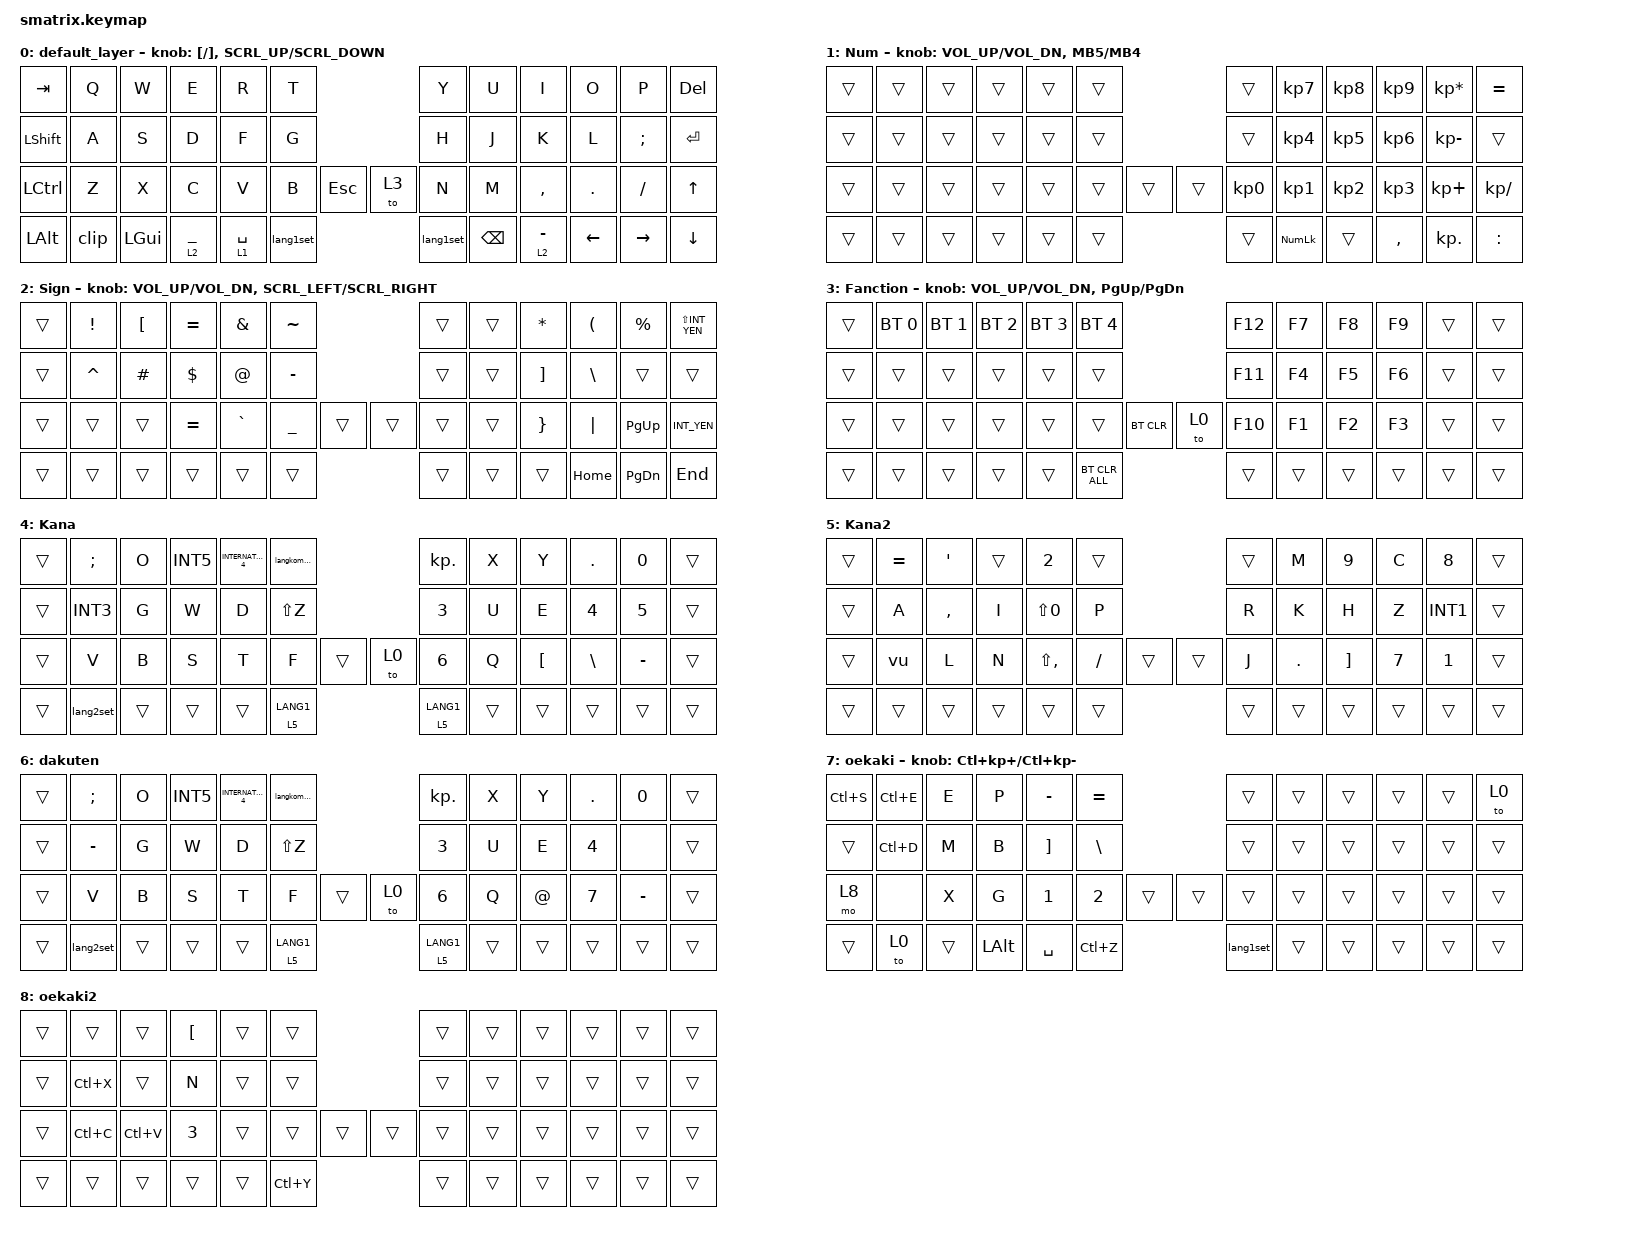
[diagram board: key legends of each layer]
#define ZMK_POINTING_DEFAULT_MOVE_VAL 800
#define ZMK_POINTING_DEFAULT_SCRL_VAL 120

#include <input/processors.dtsi>
#include <zephyr/dt-bindings/input/input-event-codes.h>
#include <behaviors.dtsi>
#include <dt-bindings/zmk/bt.h>
#include <dt-bindings/zmk/keys.h>
#include <dt-bindings/zmk/pointing.h>

&mt {
    flavor = "balanced";
    quick-tap-ms = <0>;
};

&msc {
    delay-ms = <0>;
    trigger-period-ms = <10>;
    time-to-max-speed-ms = <0>;
    acceleration-exponent = <0>;
};

/ {
    input_processors {
        zip_wheel_scaler: zip_wheel_scaler {
            compatible = "zmk,input-processor-scaler";
            #input-processor-cells = <2>;
            type = <INPUT_EV_REL>;
            codes = <INPUT_REL_WHEEL>;
            track-remainders;
        };
    };
};

&msc_input_listener {
    warp {
        layers = <0>;
        input-processors = <&zip_wheel_scaler 4 1>;
    };

    precision {
        layers = <1>;
        input-processors = <&zip_wheel_scaler 1 2>;
    };
};

/ {
    behaviors {
        rot_kp: sensor_rotate_kp {
            compatible = "zmk,behavior-sensor-rotate-var";
            #sensor-binding-cells = <2>;
            bindings = <&kp>, <&kp>;
        };

        mouse_click: mouse_button_kp {
            compatible = "zmk,behavior-sensor-rotate-var";
            #sensor-binding-cells = <2>;
            bindings = <&mkp>, <&mkp>;
        };

        mouse_scrl: mouse_wheel_scrl {
            compatible = "zmk,behavior-sensor-rotate-var";
            #sensor-binding-cells = <2>;
            bindings = <&msc>, <&msc>;

            tap-ms = <10>;
        };

        macro_w_sshot: macro_w_sshot {
            compatible = "zmk,behavior-macro";
            label = "Win Screenshot Macro";
            #binding-cells = <0>;
            bindings =
                <&macro_press>,
                <&kp LGUI &kp LSHFT>,
                <&macro_tap>,
                <&kp S>,
                <&macro_release>,
                <&kp LGUI &kp LSHFT>;
        };

        macro_m_sshot: macro_m_sshot {
            compatible = "zmk,behavior-macro";
            label = "Mac Screenshot Macro";
            #binding-cells = <0>;
            bindings =
                <&macro_press>,
                <&kp LGUI &kp LSHFT>,
                <&macro_tap>,
                <&kp N4>,
                <&macro_release>,
                <&kp LGUI &kp LSHFT>;
        };

        macro_w_TMute: macro_w_TMute {
            compatible = "zmk,behavior-macro";
            label = "Win Teams Mic Mute";
            #binding-cells = <0>;
            bindings =
                <&macro_press>,
                <&kp LGUI &kp LALT>,
                <&macro_tap>,
                <&kp K>,
                <&macro_release>,
                <&kp LGUI &kp LALT>;
        };

        lang1set: lang1set {
            compatible = "zmk,behavior-macro";
            #binding-cells = <0>;
            bindings = <&to 4 &lt 5 LANG1>;
            label = "LANG1SET";
        };

        lang2set: lang2set {
            compatible = "zmk,behavior-macro";
            #binding-cells = <0>;
            bindings = <&to 0 &lt 1 LANG2>;
            label = "LANG2SET";
        };

        pe: pe {
            compatible = "zmk,behavior-macro";
            #binding-cells = <0>;
            bindings = <&kp CARET>;
            label = "PE";
        };

        pi: pi {
            compatible = "zmk,behavior-macro";
            #binding-cells = <0>;
            bindings = <&kp V>;
            label = "PI";
        };

        pa: pa {
            compatible = "zmk,behavior-macro";
            #binding-cells = <0>;
            bindings = <&kp F>;
            label = "PA";
        };

        po: po {
            compatible = "zmk,behavior-macro";
            #binding-cells = <0>;
            bindings = <&kp MINUS>;
            label = "PO";
        };

        ba: ba {
            compatible = "zmk,behavior-macro";
            #binding-cells = <0>;
            bindings = <&kp F>;
            label = "BA";
        };

        Syo: Syo {
            compatible = "zmk,behavior-macro";
            #binding-cells = <0>;
            bindings = <&kp D &kp LS(N9)>;
            label = "SYO";
        };

        vu: vu {
            compatible = "zmk,behavior-macro";
            #binding-cells = <0>;
            bindings = <&kp NUMBER_4 &kp LEFT_BRACKET>;
            label = "VU";
        };

        langkommma: langkommma {
            compatible = "zmk,behavior-macro";
            #binding-cells = <0>;
            bindings = <&kp LANGUAGE_2 &kp COMMA &kp LANG1>;
            label = "LANGKOMMMA";
        };

        clip: clip {
            compatible = "zmk,behavior-macro";
            #binding-cells = <0>;
            bindings = <&to 7 &lt 1 LANG2>;
            label = "CLIP";
        };
    };

    macros {
    };

    combos {
        compatible = "zmk,combos";

        lang2 {
            bindings = <&lang2set>;
            key-positions = <43 42>;
        };

        lang2r {
            bindings = <&lang2set>;
            key-positions = <44 42>;
        };
    };

    keymap {
        compatible = "zmk,keymap";

        default_layer {
            bindings = <
&kp TAB         &kp Q  &kp W     &kp E             &kp R        &kp T                           &kp Y      &kp U          &kp I        &kp O       &kp P            &kp DEL
&kp LEFT_SHIFT  &kp A  &kp S     &kp D             &kp F        &kp G                           &kp H      &kp J          &kp K        &kp L       &kp SEMI         &kp ENTER
&kp LCTRL       &kp Z  &kp X     &kp C             &kp V        &kp B      &kp ESCAPE    &to 3  &kp N      &kp M          &kp COMMA    &kp PERIOD  &kp SLASH        &kp UP_ARROW
&kp LEFT_ALT    &clip  &kp LGUI  &lt 2 UNDERSCORE  &lt 1 SPACE  &lang1set                       &lang1set  &kp BACKSPACE  &lt 2 MINUS  &kp LEFT    &kp RIGHT_ARROW  &kp DOWN_ARROW
            >;

            sensor-bindings =
                <&rot_kp LEFT_BRACKET RIGHT_BRACKET>,
                <&mouse_scrl SCRL_UP SCRL_DOWN>;
        };

        Num {
            bindings = <
&trans  &trans  &trans  &trans  &trans  &trans                    &trans     &kp KP_N7   &kp KP_N8  &kp KP_N9  &kp KP_ASTERISK  &kp EQUAL
&trans  &trans  &trans  &trans  &trans  &trans                    &trans     &kp KP_N4   &kp KP_N5  &kp KP_N6  &kp KP_MINUS     &trans
&trans  &trans  &trans  &trans  &trans  &trans  &trans    &trans  &kp KP_N0  &kp KP_N1   &kp KP_N2  &kp KP_N3  &kp KP_PLUS      &kp KP_SLASH
&trans  &trans  &trans  &trans  &trans  &trans                    &trans     &kp KP_NUM  &trans     &kp COMMA  &kp KP_DOT       &kp COLON
            >;

            sensor-bindings = <&rot_kp C_VOL_UP C_VOL_DN    &mouse_click MB5 MB4>;
        };

        Sign {
            bindings = <
&trans  &kp EXCL   &kp LEFT_BRACKET  &kp EQUAL   &kp AMPERSAND  &kp TILDE                         &trans  &trans  &kp ASTRK          &kp LEFT_PARENTHESIS  &kp PERCENT  &kp LS(INT_YEN)
&trans  &kp CARET  &kp HASH          &kp DOLLAR  &kp AT         &kp MINUS                         &trans  &trans  &kp RIGHT_BRACKET  &kp BACKSLASH         &trans       &trans
&trans  &trans     &trans            &kp EQUAL   &kp GRAVE      &kp UNDERSCORE  &trans    &trans  &trans  &trans  &kp RIGHT_BRACE    &kp PIPE              &kp PG_UP    &kp INT_YEN
&trans  &trans     &trans            &trans      &trans         &trans                            &trans  &trans  &trans             &kp HOME              &kp PG_DN    &kp END
            >;

            sensor-bindings = <&rot_kp C_VOL_UP C_VOL_DN    &mouse_scrl SCRL_LEFT SCRL_RIGHT>;
        };

        Fanction {
            bindings = <
&trans  &bt BT_SEL 0  &bt BT_SEL 1  &bt BT_SEL 2  &bt BT_SEL 3  &bt BT_SEL 4                         &kp F12  &kp F7  &kp F8  &kp F9  &trans  &trans
&trans  &trans        &trans        &trans        &trans        &trans                               &kp F11  &kp F4  &kp F5  &kp F6  &trans  &trans
&trans  &trans        &trans        &trans        &trans        &trans          &bt BT_CLR    &to 0  &kp F10  &kp F1  &kp F2  &kp F3  &trans  &trans
&trans  &trans        &trans        &trans        &trans        &bt BT_CLR_ALL                       &trans   &trans  &trans  &trans  &trans  &trans
            >;

            sensor-bindings = <&rot_kp C_VOL_UP C_VOL_DN    &rot_kp PG_UP PG_DN>;
        };

        Kana {
            bindings = <
&trans  &kp SEMICOLON  &kp O   &kp INT5  &kp INTERNATIONAL_4  &langkommma                   &kp KP_DOT    &kp X   &kp Y             &kp PERIOD     &kp NUMBER_0  &trans
&trans  &kp INT3       &kp G   &kp W     &kp D                &kp LS(Z)                     &kp NUMBER_3  &kp U   &kp E             &kp NUMBER_4   &kp N5        &trans
&trans  &kp V          &kp B   &kp S     &kp T                &kp F        &trans    &to 0  &kp NUMBER_6  &kp Q   &kp LEFT_BRACKET  &kp BACKSLASH  &kp MINUS     &trans
&trans  &lang2set      &trans  &trans    &trans               &lt 5 LANG1                   &lt 5 LANG1   &trans  &trans            &trans         &trans        &trans
            >;
        };

        Kana2 {
            bindings = <
&trans  &kp EQUAL  &kp SINGLE_QUOTE  &trans  &kp NUMBER_2   &trans                       &trans  &kp M       &kp N9             &kp C   &kp N8        &trans
&trans  &kp A      &kp COMMA         &kp I   &kp LS(N0)     &kp P                        &kp R   &kp K       &kp H              &kp Z   &kp INT1      &trans
&trans  &vu        &kp L             &kp N   &kp LS(COMMA)  &kp SLASH  &trans    &trans  &kp J   &kp PERIOD  &kp RIGHT_BRACKET  &kp N7  &kp NUMBER_1  &trans
&trans  &trans     &trans            &trans  &trans         &trans                       &trans  &trans      &trans             &trans  &trans        &trans
            >;
        };

        dakuten {
            bindings = <
&trans  &kp SEMICOLON  &kp O   &kp INT5  &kp INTERNATIONAL_4  &langkommma                   &kp KP_DOT    &kp X   &kp Y        &kp PERIOD    &kp NUMBER_0  &trans
&trans  &kp MINUS      &kp G   &kp W     &kp D                &kp LS(Z)                     &kp NUMBER_3  &kp U   &kp E        &kp NUMBER_4  &none         &trans
&trans  &kp V          &kp B   &kp S     &kp T                &kp F        &trans    &to 0  &kp NUMBER_6  &kp Q   &kp AT_SIGN  &kp NUMBER_7  &kp MINUS     &trans
&trans  &lang2set      &trans  &trans    &trans               &lt 5 LANG1                   &lt 5 LANG1   &trans  &trans       &trans        &trans        &trans
            >;
        };

        oekaki {
            bindings = <
&kp LC(S)  &kp LC(E)  &kp E   &kp P     &kp MINUS          &kp EQUAL                        &trans     &trans  &trans  &trans  &trans  &to 0
&trans     &kp LC(D)  &kp M   &kp B     &kp RIGHT_BRACKET  &kp BACKSLASH                    &trans     &trans  &trans  &trans  &trans  &trans
&mo 8      &none      &kp X   &kp G     &kp NUMBER_1       &kp NUMBER_2   &trans    &trans  &trans     &trans  &trans  &trans  &trans  &trans
&trans     &to 0      &trans  &kp LALT  &kp SPACE          &kp LC(Z)                        &lang1set  &trans  &trans  &trans  &trans  &trans
            >;

            sensor-bindings = <&inc_dec_kp LC(KP_PLUS) LC(KP_MINUS)>;
        };

        oekaki2 {
            bindings = <
&trans  &trans     &trans     &kp LEFT_BRACKET  &trans  &trans                       &trans  &trans  &trans  &trans  &trans  &trans
&trans  &kp LC(X)  &trans     &kp N             &trans  &trans                       &trans  &trans  &trans  &trans  &trans  &trans
&trans  &kp LC(C)  &kp LC(V)  &kp NUMBER_3      &trans  &trans     &trans    &trans  &trans  &trans  &trans  &trans  &trans  &trans
&trans  &trans     &trans     &trans            &trans  &kp LC(Y)                    &trans  &trans  &trans  &trans  &trans  &trans
            >;
        };
    };
};
